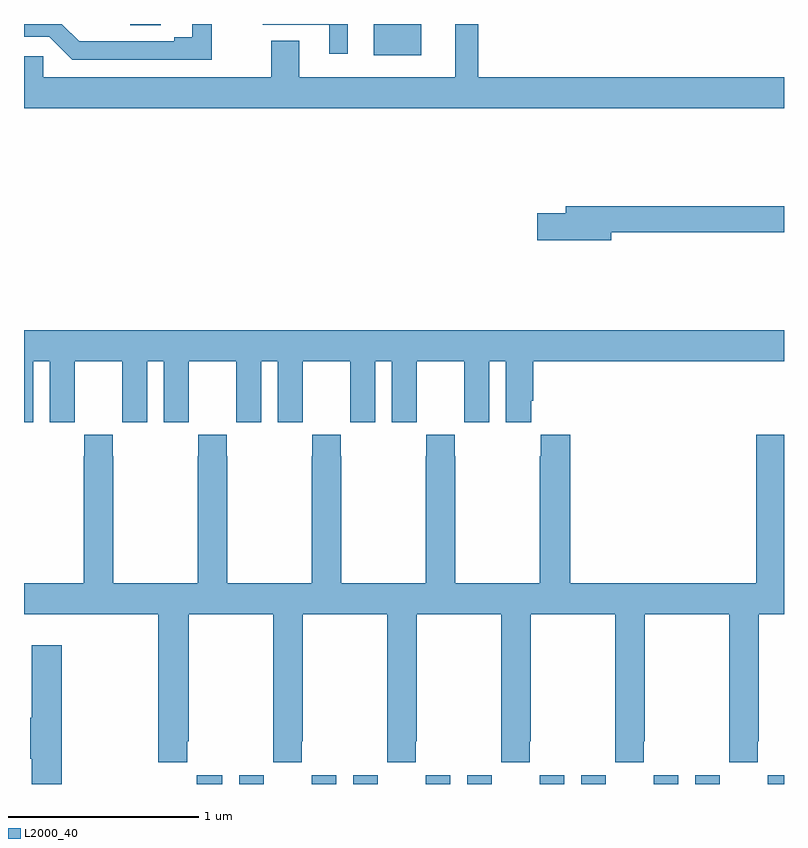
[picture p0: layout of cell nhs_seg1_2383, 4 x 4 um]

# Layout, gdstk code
import gdstk
lib = gdstk.Library(unit=1e-6, precision=1e-09)
def R(c, l, rs):  # rectangles x0, y0, x1, y1
    for r in rs: c.add(gdstk.rectangle(r[:2], r[2:], *l))
def P(c, l, *ps):  # polygons
    for p in ps: c.add(gdstk.Polygon(p, *l))
L2000_40 = (2000, 40)

nhs_seg1_2383 = lib.new_cell('nhs_seg1_2383')
R(nhs_seg1_2383, L2000_40, [(241.91,524.199,242.044,524.245), (242.132,524.199,242.262,524.245), (242.514,524.199,242.644,524.245), (242.732,524.199,242.862,524.245), (243.114,524.199,243.244,524.245), (243.332,524.199,243.462,524.245), (243.714,524.199,243.844,524.245), (243.932,524.199,244.062,524.245), (244.314,524.199,244.444,524.245), (244.532,524.199,244.662,524.245), (244.914,524.199,245,524.245), (242.84,528.035,243.091,528.199), (241.56,528.193,241.72,528.199)])
P(nhs_seg1_2383, L2000_40, [(242.704,528.199),(242.257,528.199),(242.257,528.195),(242.606,528.195),(242.606,528.042),(242.704,528.042)],
  [(245,527.92),(243.391,527.92),(243.391,528.199),(243.269,528.199),(243.269,527.92),(242.449,527.92),(242.449,528.11),(242.302,528.11),(242.302,527.92),(241.101,527.92),(241.101,528.03),(241,528.03),(241,527.756),(245,527.756)],
  [(241.988,528.199),(241.886,528.199),(241.886,528.128),(241.79,528.128),(241.79,528.108),(241.29,528.108),(241.199,528.199),(241,528.199),(241,528.132),(241.134,528.132),(241.254,528.012),(241.988,528.012)],
  [(244.09,527.104),(245,527.104),(245,527.24),(243.851,527.24),(243.851,527.204),(243.702,527.204),(243.702,527.062),(244.09,527.062)],
  [(241,526.104),(241.048,526.104),(241.048,526.424),(241.136,526.424),(241.136,526.104),(241.266,526.104),(241.266,526.216),(241.267,526.216),(241.267,526.424),(241.517,526.424),(241.517,526.216),(241.518,526.216),(241.518,526.104),(241.648,526.104),(241.648,526.424),(241.736,526.424),(241.736,526.104),(241.866,526.104),(241.866,526.216),(241.867,526.216),(241.867,526.424),(242.117,526.424),(242.117,526.216),(242.118,526.216),(242.118,526.104),(242.248,526.104),(242.248,526.424),(242.336,526.424),(242.336,526.104),(242.466,526.104),(242.466,526.216),(242.467,526.216),(242.467,526.424),(242.717,526.424),(242.717,526.216),(242.718,526.216),(242.718,526.104),(242.848,526.104),(242.848,526.424),(242.936,526.424),(242.936,526.104),(243.066,526.104),(243.066,526.216),(243.067,526.216),(243.067,526.424),(243.317,526.424),(243.317,526.216),(243.318,526.216),(243.318,526.104),(243.448,526.104),(243.448,526.424),(243.536,526.424),(243.536,526.104),(243.67,526.104),(243.67,526.216),(243.68,526.216),(243.68,526.424),(245,526.424),(245,526.588),(241,526.588)],
  [(242.911,524.425),(242.913,524.425),(242.913,524.313),(243.063,524.313),(243.063,524.425),(243.066,524.425),(243.066,525.092),(243.511,525.092),(243.511,524.425),(243.513,524.425),(243.513,524.313),(243.663,524.313),(243.663,524.425),(243.666,524.425),(243.666,525.092),(244.111,525.092),(244.111,524.425),(244.113,524.425),(244.113,524.313),(244.263,524.313),(244.263,524.425),(244.266,524.425),(244.266,525.092),(244.711,525.092),(244.711,524.425),(244.713,524.425),(244.713,524.313),(244.863,524.313),(244.863,524.425),(244.866,524.425),(244.866,525.092),(245,525.092),(245,526.036),(244.853,526.036),(244.853,525.256),(243.875,525.256),(243.875,526.036),(243.721,526.036),(243.721,525.923),(243.715,525.923),(243.715,525.256),(243.27,525.256),(243.27,525.923),(243.267,525.923),(243.267,526.036),(243.117,526.036),(243.117,525.923),(243.115,525.923),(243.115,525.256),(242.67,525.256),(242.67,525.923),(242.667,525.923),(242.667,526.036),(242.517,526.036),(242.517,525.923),(242.515,525.923),(242.515,525.256),(242.07,525.256),(242.07,525.923),(242.067,525.923),(242.067,526.036),(241.917,526.036),(241.917,525.923),(241.915,525.923),(241.915,525.256),(241.47,525.256),(241.47,525.923),(241.467,525.923),(241.467,526.036),(241.317,526.036),(241.317,525.923),(241.315,525.923),(241.315,525.256),(241,525.256),(241,525.092),(241.706,525.092),(241.706,524.313),(241.859,524.313),(241.859,524.425),(241.866,524.425),(241.866,525.092),(242.311,525.092),(242.311,524.425),(242.313,524.425),(242.313,524.313),(242.463,524.313),(242.463,524.425),(242.466,524.425),(242.466,525.092),(242.911,525.092)],
  [(241.199,524.929),(241.04,524.929),(241.04,524.549),(241.033,524.549),(241.033,524.332),(241.04,524.332),(241.04,524.199),(241.199,524.199)])

lib.write_gds('nhs_seg1_2383.gds')
